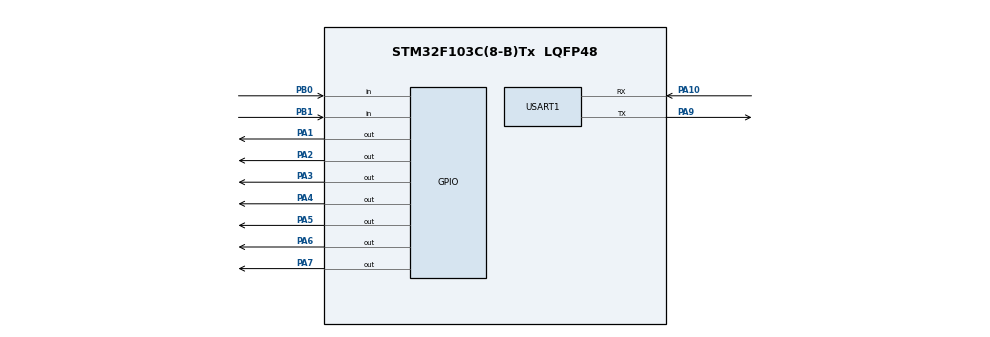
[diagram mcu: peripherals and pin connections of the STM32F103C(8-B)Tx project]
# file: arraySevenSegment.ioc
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Mcu.Family=STM32F1
Mcu.Name=STM32F103C(8-B)Tx
Mcu.Package=LQFP48
NVIC.PriorityGroup=NVIC_PRIORITYGROUP_4
NVIC.USART1_IRQn=true\:0\:0\:false\:false\:true\:true\:true\:true
PA1.Signal=GPIO_Output
PA10.Mode=Asynchronous
PA10.Signal=USART1_RX
PA2.Signal=GPIO_Output
PA3.Signal=GPIO_Output
PA4.Signal=GPIO_Output
PA5.Signal=GPIO_Output
PA6.Signal=GPIO_Output
PA7.Signal=GPIO_Output
PA9.Mode=Asynchronous
PA9.Signal=USART1_TX
PB0.Signal=GPIO_Input
PB1.Signal=GPIO_Input
ProjectManager.HeapSize=0x200
ProjectManager.StackSize=0x400
ProjectManager.TargetToolchain=STM32CubeIDE
RCC.APB1Freq_Value=8000000
RCC.APB2Freq_Value=8000000
USART1.VirtualMode=VM_ASYNC
board=custom

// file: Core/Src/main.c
/* USER CODE BEGIN Header */
/**
 ******************************************************************************
 * @file           : main.c
 * @brief          : Main program body
 ******************************************************************************
 * @attention
 *
 * Copyright (c) 2024 STMicroelectronics.
 * All rights reserved.
 *
 * This software is licensed under terms that can be found in the LICENSE file
 * in the root directory of this software component.
 * If no LICENSE file comes with this software, it is provided AS-IS.
 *
 ******************************************************************************
 */
/* USER CODE END Header */
#include "main.h"
#include <stdio.h>

UART_HandleTypeDef huart1;

void SystemClock_Config(void);
static void MX_GPIO_Init(void);
static void MX_USART1_UART_Init(void);

/* USER CODE BEGIN 0 */

void pin_on(GPIO_TypeDef *gpio, int p1, int p2, int p3, int p4, int p5, int p6,
		int p7) {
	if (p1)
		HAL_GPIO_WritePin(gpio, GPIO_PIN_1, 1);
	if (p2)
		HAL_GPIO_WritePin(gpio, GPIO_PIN_2, 1);
	if (p3)
		HAL_GPIO_WritePin(gpio, GPIO_PIN_3, 1);
	if (p4)
		HAL_GPIO_WritePin(gpio, GPIO_PIN_4, 1);
	if (p5)
		HAL_GPIO_WritePin(gpio, GPIO_PIN_5, 1);
	if (p6)
		HAL_GPIO_WritePin(gpio, GPIO_PIN_6, 1);
	if (p7)
		HAL_GPIO_WritePin(gpio, GPIO_PIN_7, 1);
}

void show_number(int num) {
	switch (num) {
	case 0:
		pin_on(GPIOA, 1, 1, 1, 1, 1, 1, 0);
	case 1:
		pin_on(GPIOA, 0, 1, 1, 0, 0, 0, 0);
		break;
	case 2:
		pin_on(GPIOA, 1, 1, 0, 1, 1, 0, 1);
		break;
	case 3:
		pin_on(GPIOA, 1, 1, 1, 1, 0, 0, 1);
		break;
	case 4:
		pin_on(GPIOA, 0, 1, 1, 0, 0, 1, 1);
		break;
	case 5:
		pin_on(GPIOA, 1, 0, 1, 1, 0, 1, 1);
		break;
	case 6:
		pin_on(GPIOA, 1, 0, 1, 1, 1, 1, 1);
		break;
	case 7:
		pin_on(GPIOA, 1, 1, 1, 0, 0, 0, 0);
		break;
	case 8:
		pin_on(GPIOA, 1, 1, 1, 1, 1, 1, 1);
		break;
	case 9:
		pin_on(GPIOA, 1, 1, 1, 1, 0, 1, 1);
		break;
	}
}

/* USER CODE END 0 */

int main(void) {

	/* MCU Configuration--------------------------------------------------------*/

	/* Reset of all peripherals, Initializes the Flash interface and the Systick. */
	HAL_Init();

	/* Configure the system clock */
	SystemClock_Config();

	/* Initialize all configured peripherals */
	MX_GPIO_Init();
	MX_USART1_UART_Init();
	/* USER CODE BEGIN 2 */
	int a = 0;
	char buffer[50];
	/* USER CODE END 2 */

	/* Infinite loop */
	while (1) {

		/* USER CODE BEGIN 3 */
		HAL_Delay(100);
		show_number(a);
	if (HAL_GPIO_ReadPin(GPIOB, GPIO_PIN_0) == 1) {
		a++;
		if (a >= 10)
		a = 0;
		HAL_Delay(200);
		HAL_UART_Transmit(&huart1, (uint8_t*) buffer,
				sprintf(buffer, "The Number is: %d\n", a), 500);
		MX_GPIO_Init();

	}
}
/* USER CODE END 3 */
}

void SystemClock_Config(void) {
RCC_OscInitTypeDef RCC_OscInitStruct = { 0 };
RCC_ClkInitTypeDef RCC_ClkInitStruct = { 0 };

/** Initializes the RCC Oscillators according to the specified parameters
 * in the RCC_OscInitTypeDef structure.
 */
RCC_OscInitStruct.OscillatorType = RCC_OSCILLATORTYPE_HSI;
RCC_OscInitStruct.HSIState = RCC_HSI_ON;
RCC_OscInitStruct.HSICalibrationValue = RCC_HSICALIBRATION_DEFAULT;
RCC_OscInitStruct.PLL.PLLState = RCC_PLL_NONE;
if (HAL_RCC_OscConfig(&RCC_OscInitStruct) != HAL_OK) {
	Error_Handler();
}

/** Initializes the CPU, AHB and APB buses clocks
 */
RCC_ClkInitStruct.ClockType = RCC_CLOCKTYPE_HCLK | RCC_CLOCKTYPE_SYSCLK
		| RCC_CLOCKTYPE_PCLK1 | RCC_CLOCKTYPE_PCLK2;
RCC_ClkInitStruct.SYSCLKSource = RCC_SYSCLKSOURCE_HSI;
RCC_ClkInitStruct.AHBCLKDivider = RCC_SYSCLK_DIV1;
RCC_ClkInitStruct.APB1CLKDivider = RCC_HCLK_DIV1;
RCC_ClkInitStruct.APB2CLKDivider = RCC_HCLK_DIV1;

if (HAL_RCC_ClockConfig(&RCC_ClkInitStruct, FLASH_LATENCY_0) != HAL_OK) {
	Error_Handler();
}
}

static void MX_USART1_UART_Init(void) {

huart1.Instance = USART1;
huart1.Init.BaudRate = 115200;
huart1.Init.WordLength = UART_WORDLENGTH_8B;
huart1.Init.StopBits = UART_STOPBITS_1;
huart1.Init.Parity = UART_PARITY_NONE;
huart1.Init.Mode = UART_MODE_TX_RX;
huart1.Init.HwFlowCtl = UART_HWCONTROL_NONE;
huart1.Init.OverSampling = UART_OVERSAMPLING_16;
if (HAL_UART_Init(&huart1) != HAL_OK) {
	Error_Handler();
}

}

static void MX_GPIO_Init(void) {
GPIO_InitTypeDef GPIO_InitStruct = { 0 };

/* GPIO Ports Clock Enable */
__HAL_RCC_GPIOA_CLK_ENABLE();
__HAL_RCC_GPIOB_CLK_ENABLE();

/*Configure GPIO pin Output Level */
HAL_GPIO_WritePin(GPIOA,
		GPIO_PIN_1 | GPIO_PIN_2 | GPIO_PIN_3 | GPIO_PIN_4 | GPIO_PIN_5
				| GPIO_PIN_6 | GPIO_PIN_7, GPIO_PIN_RESET);

/*Configure GPIO pins : PA1 PA2 PA3 PA4
 PA5 PA6 PA7 */
GPIO_InitStruct.Pin = GPIO_PIN_1 | GPIO_PIN_2 | GPIO_PIN_3 | GPIO_PIN_4
		| GPIO_PIN_5 | GPIO_PIN_6 | GPIO_PIN_7;
GPIO_InitStruct.Mode = GPIO_MODE_OUTPUT_PP;
GPIO_InitStruct.Pull = GPIO_NOPULL;
GPIO_InitStruct.Speed = GPIO_SPEED_FREQ_LOW;
HAL_GPIO_Init(GPIOA, &GPIO_InitStruct);

/*Configure GPIO pins : PB0 PB1 */
GPIO_InitStruct.Pin = GPIO_PIN_0 | GPIO_PIN_1;
GPIO_InitStruct.Mode = GPIO_MODE_INPUT;
GPIO_InitStruct.Pull = GPIO_NOPULL;
HAL_GPIO_Init(GPIOB, &GPIO_InitStruct);

}

void Error_Handler(void) {
__disable_irq();
while (1) {
}
}
